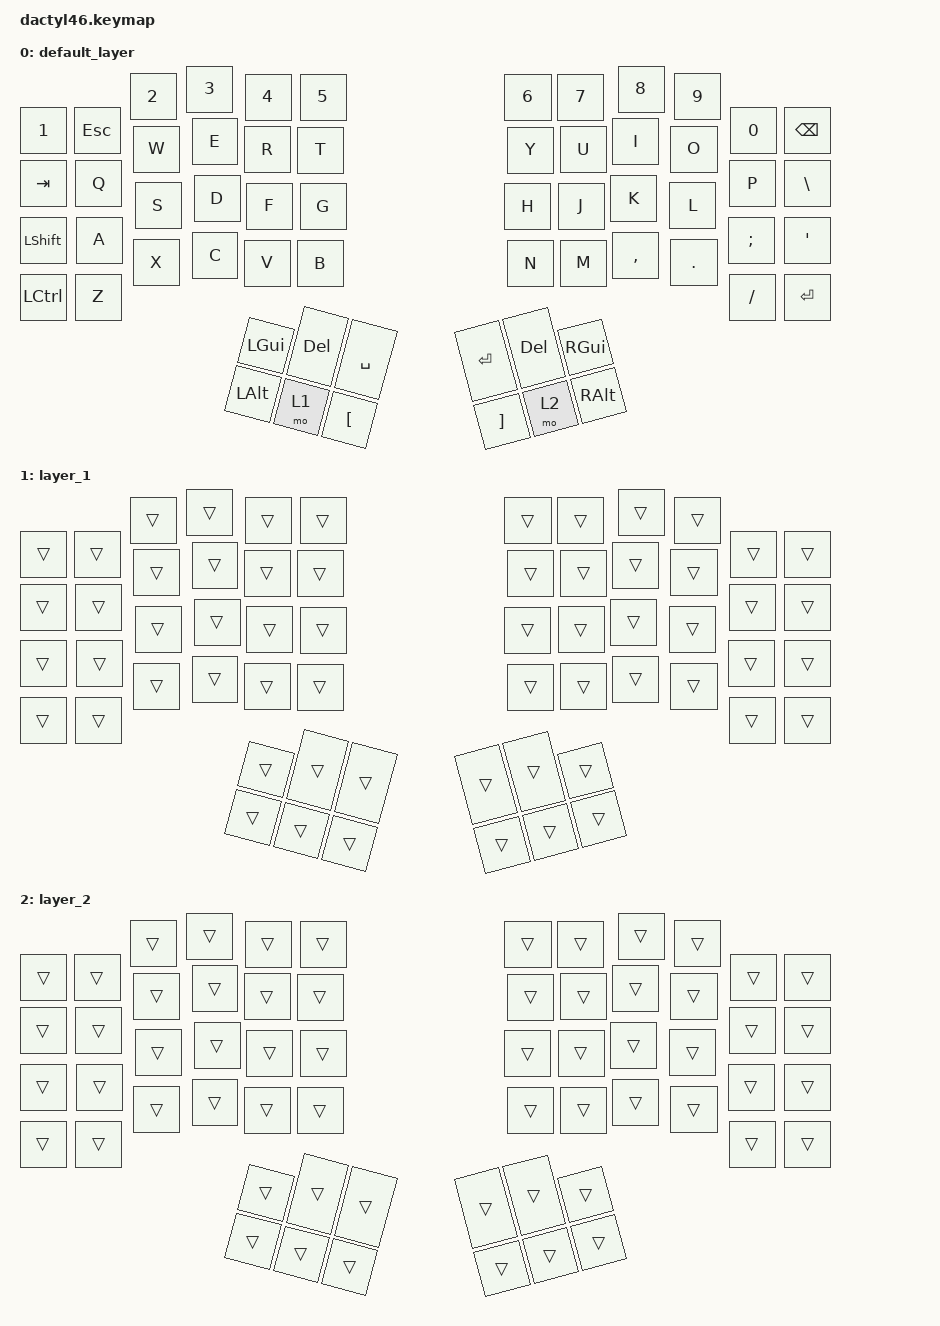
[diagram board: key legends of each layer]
#include <behaviors.dtsi>
#include <dt-bindings/zmk/keys.h>
#include <dt-bindings/zmk/bt.h>

/ {
        keymap {
        compatible = "zmk,keymap";

        default_layer {

            bindings = <
&kp ESC    &kp N1  &kp N2  &kp N3    &kp N4   &kp N5     &kp N6    &kp N7   &kp N8     &kp N9   &kp N0    &kp BSPC
&kp TAB    &kp Q   &kp W   &kp E     &kp R    &kp T      &kp Y     &kp U    &kp I      &kp O    &kp P     &kp BSLH
&kp LSHFT  &kp A   &kp S   &kp D     &kp F    &kp G      &kp H     &kp J    &kp K      &kp L    &kp SEMI  &kp SQT
&kp LCTRL  &kp Z   &kp X   &kp C     &kp V    &kp B      &kp N     &kp M    &kp COMMA  &kp DOT  &kp FSLH  &kp RET
                           &kp LGUI  &kp DEL  &kp SPACE  &kp RET   &kp DEL  &kp RGUI
                           &kp LALT  &mo 1    &kp LBKT   &kp RBKT  &mo 2    &kp RALT
            >;
        };

        layer_1 {
            bindings = <
&trans  &trans  &trans  &trans  &trans  &trans  &trans  &trans  &trans  &trans  &trans  &trans
&trans  &trans  &trans  &trans  &trans  &trans  &trans  &trans  &trans  &trans  &trans  &trans
&trans  &trans  &trans  &trans  &trans  &trans  &trans  &trans  &trans  &trans  &trans  &trans
&trans  &trans  &trans  &trans  &trans  &trans  &trans  &trans  &trans  &trans  &trans  &trans
                        &trans  &trans  &trans  &trans  &trans  &trans
                        &trans  &trans  &trans  &trans  &trans  &trans
            >;
        };

        layer_2 {
            bindings = <
&trans  &trans  &trans  &trans  &trans  &trans  &trans  &trans  &trans  &trans  &trans  &trans
&trans  &trans  &trans  &trans  &trans  &trans  &trans  &trans  &trans  &trans  &trans  &trans
&trans  &trans  &trans  &trans  &trans  &trans  &trans  &trans  &trans  &trans  &trans  &trans
&trans  &trans  &trans  &trans  &trans  &trans  &trans  &trans  &trans  &trans  &trans  &trans
                        &trans  &trans  &trans  &trans  &trans  &trans
                        &trans  &trans  &trans  &trans  &trans  &trans
            >;
        };
    };
};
